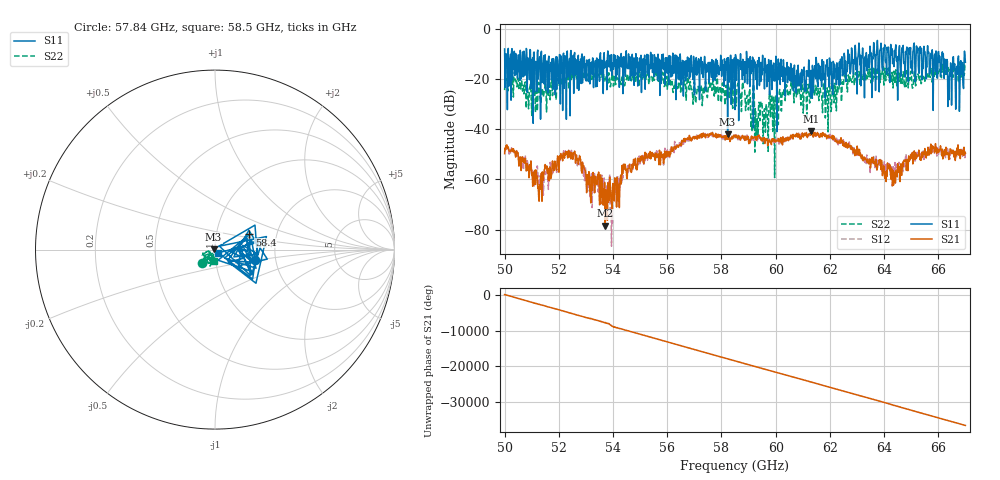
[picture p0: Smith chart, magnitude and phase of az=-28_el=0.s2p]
!Created with skrf (http://scikit-rf.org).
# GHz S RI R 50.0
!freq ReS11 ImS11 ReS21 ImS21 ReS12 ImS12 ReS22 ImS22
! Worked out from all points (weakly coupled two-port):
!   1001 points, 50 GHz to 67 GHz, reference 50 ohm
!   highest |S21| = -40.67 dB at 61.32 GHz (marker M1); lowest = -78.4 dB at 53.71 GHz (marker M2)
!   lowest |S11| = -42.0 dB at 58.23 GHz (marker M3), VSWR 1.02, Z = 49.2 + j0.209 ohm
!   |S11| at or under -10 dB: 52.59 GHz to 53.53 GHz (946.4 MHz wide, 1.78 % of centre); 56.21 GHz to 58.7 GHz (2.498 GHz wide, 4.35 % of centre); 58.93 GHz to 62.53 GHz (3.598 GHz wide, 5.93 % of centre) (the widest 3 of 63)
!   |S22| runs from -59.3 to -13.2 dB; largest |S21 - S12| = 0.0026
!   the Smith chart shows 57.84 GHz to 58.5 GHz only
!   S11 on the Smith chart (normalised r, x): 57.84 GHz: 1.56, -0.20; 58.4 GHz: 1.45, +0.26; 58.5 GHz: 1.03, -0.04
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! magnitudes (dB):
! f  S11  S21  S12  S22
! 50 GHz  -8.0  -49.7  -48.9  -24.4
! 51.29 GHz  -11.4  -62.0  -59.8  -26.2
! 52.11 GHz  -17.7  -50.9  -51.8  -22.0
! 52.84 GHz  -11.1  -56.4  -56.8  -19.8
! 53.09 GHz  -21.0  -62.0  -61.9  -18.1
! 53.71 GHz  -15.2  -78.4  -67.0  -20.4
! 53.98 GHz  -14.8  -63.1  -77.2  -18.0
! 54.47 GHz  -13.1  -56.4  -56.5  -20.8
! 55.68 GHz  -13.6  -51.5  -51.6  -20.9
! 57.84 GHz  -12.7  -42.1  -42.0  -19.4
! 58.23 GHz  -42.0  -43.4  -43.0  -23.0
! 58.4 GHz  -13.6  -43.0  -43.9  -25.5
! 58.5 GHz  -32.2  -42.9  -43.6  -23.6
! 59.11 GHz  -12.7  -42.7  -44.5  -37.0
! 59.32 GHz  -24.1  -44.0  -44.1  -35.8
! 60.34 GHz  -15.5  -43.8  -45.0  -25.8
! 61.32 GHz  -17.0  -40.7  -42.0  -23.5
! 61.34 GHz  -27.7  -42.2  -41.2  -26.6
! 64.18 GHz  -11.8  -55.8  -53.7  -17.5
! 66.08 GHz  -19.0  -46.6  -48.3  -16.0
! 66.44 GHz  -18.8  -47.8  -50.6  -16.5
! 67 GHz  -13.4  -49.5  -49.4  -14.5
